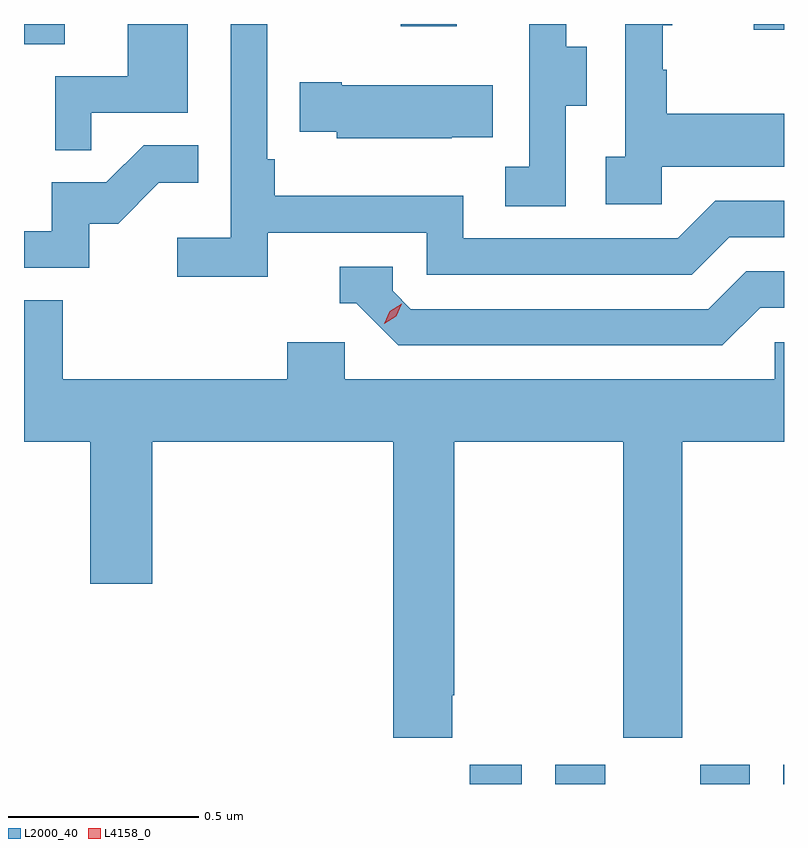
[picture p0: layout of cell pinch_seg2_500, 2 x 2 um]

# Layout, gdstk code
import gdstk
lib = gdstk.Library(unit=1e-6, precision=1e-09)
def R(c, l, rs):  # rectangles x0, y0, x1, y1
    for r in rs: c.add(gdstk.rectangle(r[:2], r[2:], *l))
def P(c, l, *ps):  # polygons
    for p in ps: c.add(gdstk.Polygon(p, *l))
L2000_40 = (2000, 40)
L4158_0 = (4158, 0)

pinch_seg2_500 = lib.new_cell('pinch_seg2_500')
R(pinch_seg2_500, L2000_40, [(921.251,601.447,921.388,601.498), (921.476,601.447,921.607,601.498), (921.857,601.447,921.988,601.498), (922.076,601.447,922.078,601.498), (920.078,603.394,920.185,603.447), (921.998,603.432,922.078,603.447), (921.07,603.441,921.217,603.447)])
P(pinch_seg2_500, L2000_40, [(920.255,603.213),(920.509,603.213),(920.509,603.447),(920.351,603.447),(920.351,603.309),(920.16,603.309),(920.16,603.115),(920.255,603.115)],
  [(921.504,603.232),(921.559,603.232),(921.559,603.387),(921.505,603.387),(921.505,603.447),(921.407,603.447),(921.407,603.375),(921.408,603.375),(921.408,603.071),(921.345,603.071),(921.345,602.968),(921.504,602.968)],
  [(920.72,602.898),(921.138,602.898),(921.138,602.787),(921.835,602.787),(921.934,602.886),(922.078,602.886),(922.078,602.982),(921.897,602.982),(921.798,602.883),(921.234,602.883),(921.234,602.995),(920.738,602.995),(920.738,603.091),(920.718,603.091),(920.718,603.447),(920.622,603.447),(920.622,602.884),(920.481,602.884),(920.481,602.782),(920.72,602.782)],
  [(921.756,603.071),(922.078,603.071),(922.078,603.211),(921.769,603.211),(921.769,603.326),(921.759,603.326),(921.759,603.444),(921.784,603.444),(921.784,603.447),(921.66,603.447),(921.66,603.098),(921.609,603.098),(921.609,602.973),(921.756,602.973)],
  [(921.203,603.149),(921.311,603.149),(921.311,603.286),(920.914,603.286),(920.914,603.294),(920.803,603.294),(920.803,603.164),(920.901,603.164),(920.901,603.146),(921.203,603.146)],
  [(920.25,602.922),(920.326,602.922),(920.433,603.029),(920.537,603.029),(920.537,603.128),(920.393,603.128),(920.295,603.03),(920.151,603.03),(920.151,602.901),(920.078,602.901),(920.078,602.805),(920.25,602.805)],
  [(922.015,602.7),(922.078,602.7),(922.078,602.796),(921.978,602.796),(921.879,602.697),(921.096,602.697),(921.048,602.745),(921.048,602.808),(920.909,602.808),(920.909,602.712),(920.952,602.712),(921.063,602.601),(921.916,602.601)],
  [(921.205,601.681),(921.21,601.681),(921.21,602.348),(921.655,602.348),(921.655,601.569),(921.81,601.569),(921.81,602.348),(922.078,602.348),(922.078,602.61),(922.053,602.61),(922.053,602.512),(920.922,602.512),(920.922,602.61),(920.771,602.61),(920.771,602.512),(920.18,602.512),(920.18,602.72),(920.078,602.72),(920.078,602.348),(920.252,602.348),(920.252,601.974),(920.416,601.974),(920.416,602.348),(921.05,602.348),(921.05,601.569),(921.205,601.569)])
P(pinch_seg2_500, L4158_0, [(921.026,602.658),(921.026,602.658),(921.041,602.691),(921.072,602.711),(921.072,602.711),(921.072,602.711),(921.057,602.678),(921.026,602.658)])

lib.write_gds('pinch_seg2_500.gds')
